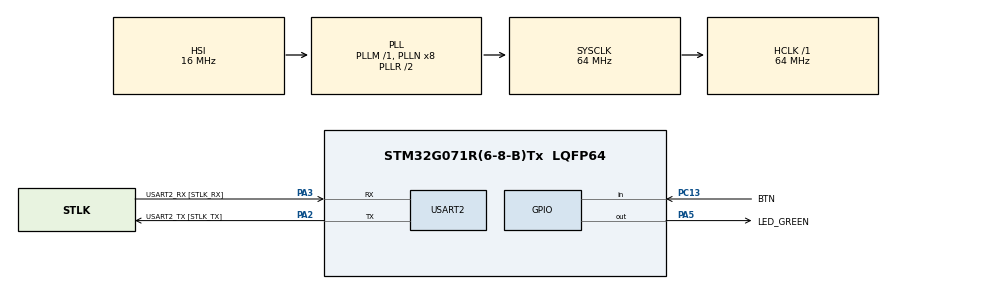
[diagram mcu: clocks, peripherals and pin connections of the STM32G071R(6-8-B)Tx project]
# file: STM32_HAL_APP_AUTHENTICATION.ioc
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Mcu.Family=STM32G0
Mcu.Name=STM32G071R(6-8-B)Tx
Mcu.Package=LQFP64
PA13.GPIO_Label=TMS
PA13.Mode=Serial_Wire
PA13.Signal=SYS_SWDIO
PA14-BOOT0.GPIO_Label=TCK
PA14-BOOT0.Mode=Serial_Wire
PA14-BOOT0.Signal=SYS_SWCLK
PA2.GPIO_Label=USART2_TX [STLK_TX]
PA2.GPIO_PuPd=GPIO_PULLUP
PA2.Mode=Asynchronous
PA2.Signal=USART2_TX
PA3.GPIO_Label=USART2_RX [STLK_RX]
PA3.GPIO_PuPd=GPIO_PULLUP
PA3.Mode=Asynchronous
PA3.Signal=USART2_RX
PA5.GPIO_Label=LED_GREEN
PA5.GPIO_Speed=GPIO_SPEED_FREQ_HIGH
PA5.Signal=GPIO_Output
PC13.GPIO_Label=BTN
PC13.Signal=GPIO_Input
PC14-OSC32_IN\ (PC14).Mode=LSE-External-Oscillator
PC14-OSC32_IN\ (PC14).Signal=RCC_OSC32_IN
PC15-OSC32_OUT\ (PC15).Mode=LSE-External-Oscillator
PC15-OSC32_OUT\ (PC15).Signal=RCC_OSC32_OUT
PF0-OSC_IN\ (PF0).GPIO_Label=MCO
PF0-OSC_IN\ (PF0).Mode=HSE-External-Clock-Source
PF0-OSC_IN\ (PF0).Signal=RCC_OSC_IN
ProjectManager.HeapSize=0x200
ProjectManager.StackSize=0x400
ProjectManager.TargetToolchain=STM32CubeIDE
RCC.ADCFreq_Value=64000000
RCC.AHBFreq_Value=64000000
RCC.CortexFreq_Value=64000000
RCC.EXTERNAL_CLOCK_VALUE=12288000
RCC.HCLKFreq_Value=64000000
RCC.HSE_VALUE=8000000
RCC.HSI_VALUE=16000000
RCC.SYSCLKFreq_VALUE=64000000
RCC.SYSCLKSource=RCC_SYSCLKSOURCE_PLLCLK
RCC.VCOOutputFreq_Value=128000000
USART2.VirtualMode-Asynchronous=VM_ASYNC
board=NUCLEO-G071RB

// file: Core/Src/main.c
/* USER CODE BEGIN Header */
/**
 ******************************************************************************
 * @file           : main.c
 * @brief          : Main program body
 ******************************************************************************
 * @attention
 *
 * Copyright (c) 2022 STMicroelectronics.
 * All rights reserved.
 *
 * This software is licensed under terms that can be found in the LICENSE file
 * in the root directory of this software component.
 * If no LICENSE file comes with this software, it is provided AS-IS.
 *
 ******************************************************************************
 */
/* USER CODE END Header */
#include "main.h"
#include "usart.h"
#include "gpio.h"

/* USER CODE BEGIN Includes */
#include "app.h"
/* USER CODE END Includes */

void SystemClock_Config(void);

/* USER CODE BEGIN 0 */
int __io_putchar (int ch)
{
  HAL_UART_Transmit(&huart2, (uint8_t*)&ch, 1, HAL_MAX_DELAY);
  return ch;
}

void printHexArray(const uint8_t* arr, const size_t len)
{
  for(size_t i = 0; i < len; i++)
  {
    printf("%02X ", arr[i]);
  }

  printf("\r\n");
}
/* USER CODE END 0 */

int main(void)
{

  /* MCU Configuration--------------------------------------------------------*/

  /* Reset of all peripherals, Initializes the Flash interface and the Systick. */
  HAL_Init();

  /* Configure the system clock */
  SystemClock_Config();

  /* Initialize all configured peripherals */
  MX_GPIO_Init();
  MX_USART2_UART_Init();
  /* USER CODE BEGIN 2 */

  //initialize cmox
  if(cmox_initialize(NULL) != CMOX_INIT_SUCCESS)
  {
    Error_Handler();
  }

  //verify hash
  if(!AppHashVerify())
  {
    Error_Handler();
  }

  //verify authentication
  if(!AppSignatureVerify())
  {
    Error_Handler();
  }

  //finalize cmox
  if(cmox_finalize(NULL) != CMOX_INIT_SUCCESS)
  {
    Error_Handler();
  }

  //run application
  AppRun();

  /* USER CODE END 2 */

  /* Infinite loop */
  while (1)
  {

  }
}

void SystemClock_Config(void)
{
  RCC_OscInitTypeDef RCC_OscInitStruct = {0};
  RCC_ClkInitTypeDef RCC_ClkInitStruct = {0};

  /** Configure the main internal regulator output voltage
   */
  HAL_PWREx_ControlVoltageScaling(PWR_REGULATOR_VOLTAGE_SCALE1);

  /** Initializes the RCC Oscillators according to the specified parameters
   * in the RCC_OscInitTypeDef structure.
   */
  RCC_OscInitStruct.OscillatorType = RCC_OSCILLATORTYPE_HSI;
  RCC_OscInitStruct.HSIState = RCC_HSI_ON;
  RCC_OscInitStruct.HSIDiv = RCC_HSI_DIV1;
  RCC_OscInitStruct.HSICalibrationValue = RCC_HSICALIBRATION_DEFAULT;
  RCC_OscInitStruct.PLL.PLLState = RCC_PLL_ON;
  RCC_OscInitStruct.PLL.PLLSource = RCC_PLLSOURCE_HSI;
  RCC_OscInitStruct.PLL.PLLM = RCC_PLLM_DIV1;
  RCC_OscInitStruct.PLL.PLLN = 8;
  RCC_OscInitStruct.PLL.PLLP = RCC_PLLP_DIV2;
  RCC_OscInitStruct.PLL.PLLQ = RCC_PLLQ_DIV2;
  RCC_OscInitStruct.PLL.PLLR = RCC_PLLR_DIV2;
  if (HAL_RCC_OscConfig(&RCC_OscInitStruct) != HAL_OK)
  {
    Error_Handler();
  }

  /** Initializes the CPU, AHB and APB buses clocks
   */
  RCC_ClkInitStruct.ClockType = RCC_CLOCKTYPE_HCLK|RCC_CLOCKTYPE_SYSCLK
      |RCC_CLOCKTYPE_PCLK1;
  RCC_ClkInitStruct.SYSCLKSource = RCC_SYSCLKSOURCE_PLLCLK;
  RCC_ClkInitStruct.AHBCLKDivider = RCC_SYSCLK_DIV1;
  RCC_ClkInitStruct.APB1CLKDivider = RCC_HCLK_DIV1;

  if (HAL_RCC_ClockConfig(&RCC_ClkInitStruct, FLASH_LATENCY_2) != HAL_OK)
  {
    Error_Handler();
  }
}

void Error_Handler(void)
{
  /* USER CODE BEGIN Error_Handler_Debug */
  /* User can add his own implementation to report the HAL error return state */
  __disable_irq();
  while (1)
  {
    HAL_GPIO_WritePin(LED_GREEN_GPIO_Port, LED_GREEN_Pin, GPIO_PIN_SET);
  }
  /* USER CODE END Error_Handler_Debug */
}
